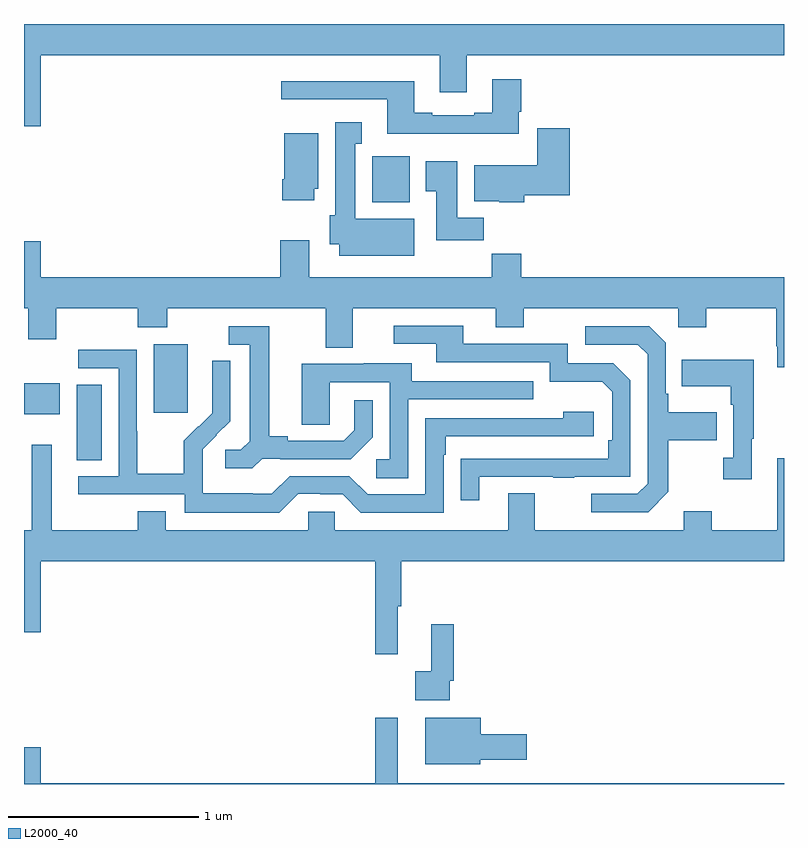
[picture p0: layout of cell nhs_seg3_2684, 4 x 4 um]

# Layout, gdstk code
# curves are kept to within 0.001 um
import gdstk
lib = gdstk.Library(unit=1e-6, precision=1e-09)
def R(c, l, rs):  # rectangles x0, y0, x1, y1
    for r in rs: c.add(gdstk.rectangle(r[:2], r[2:], *l))
def P(c, l, *ps):  # polygons
    for p in ps: c.add(gdstk.Polygon(p, *l))
L2000_40 = (2000, 40)

nhs_seg3_2684 = lib.new_cell('nhs_seg3_2684')
R(nhs_seg3_2684, L2000_40, [(249.278,712.105,249.409,712.502), (249,712.346,249.187,712.51), (249.683,712.353,249.862,712.714), (250.832,713.462,251.029,713.704)])
P(nhs_seg3_2684, L2000_40, [(249.088,714.236),(251.189,714.236),(251.189,714.042),(251.329,714.042),(251.329,714.236),(253,714.236),(253,714.4),(249,714.4),(249,713.862),(249.088,713.862)],
  [(251.605,713.938),(251.618,713.938),(251.618,714.109),(251.465,714.109),(251.465,713.932),(251.369,713.932),(251.369,713.919),(251.149,713.919),(251.149,713.932),(251.053,713.932),(251.053,714.1),(250.353,714.1),(250.353,714.003),(250.913,714.003),(250.913,713.822),(251.605,713.822)],
  [(251.053,713.374),(250.744,713.374),(250.744,713.771),(250.777,713.771),(250.777,713.884),(250.637,713.884),(250.637,713.394),(250.61,713.394),(250.61,713.24),(250.658,713.24),(250.658,713.18),(251.053,713.18)],
  [(251.633,713.498),(251.873,713.498),(251.873,713.851),(251.702,713.851),(251.702,713.656),(251.369,713.656),(251.369,713.468),(251.502,713.468),(251.502,713.462),(251.633,713.462)],
  [(250.528,713.532),(250.549,713.532),(250.549,713.824),(250.37,713.824),(250.37,713.584),(250.358,713.584),(250.358,713.472),(250.528,713.472)],
  [(251.42,713.38),(251.281,713.38),(251.281,713.677),(251.114,713.677),(251.114,713.521),(251.171,713.521),(251.171,713.262),(251.42,713.262)],
  [(249.088,713.257),(249,713.257),(249,712.904),(249.023,712.904),(249.023,712.74),(249.171,712.74),(249.171,712.904),(249.598,712.904),(249.598,712.805),(249.753,712.805),(249.753,712.904),(250.589,712.904),(250.589,712.696),(250.729,712.696),(250.729,712.904),(251.483,712.904),(251.483,712.805),(251.631,712.805),(251.631,712.904),(252.444,712.904),(252.444,712.805),(252.591,712.805),(252.591,712.904),(252.958,712.904),(252.958,712.705),(252.965,712.705),(252.965,712.593),(253,712.593),(253,713.068),(251.618,713.068),(251.618,713.192),(251.461,713.192),(251.461,713.068),(250.501,713.068),(250.501,713.263),(250.349,713.263),(250.349,713.068),(249.088,713.068)],
  [(251.395,712.017),(251.785,712.017),(251.785,712.012),(251.897,712.012),(251.897,712.017),(252.192,712.017),(252.192,712.524),(252.102,712.614),(251.862,712.614),(251.862,712.716),(251.311,712.716),(251.311,712.812),(250.947,712.812),(250.947,712.716),(251.171,712.716),(251.171,712.62),(251.766,712.62),(251.766,712.517),(252.043,712.517),(252.096,712.464),(252.096,712.21),(252.076,712.21),(252.076,712.113),(251.299,712.112),(251.299,711.894),(251.395,711.894)],
  [(250.254,712.113),(250.348,712.113),(250.348,712.11),(250.72,712.11),(250.836,712.226),(250.836,712.42),(250.739,712.42),(250.739,712.263),(250.682,712.206),(250.387,712.206),(250.387,712.229),(250.291,712.229),(250.291,712.809),(250.077,712.809),(250.077,712.713),(250.187,712.713),(250.187,712.205),(250.14,712.158),(250.059,712.158),(250.059,712.061),(250.202,712.061)],
  [(252.391,711.937),(252.391,712.21),(252.647,712.21),(252.647,712.357),(252.391,712.357),(252.391,712.453),(252.378,712.453),(252.378,712.722),(252.291,712.809),(251.955,712.809),(251.955,712.713),(252.231,712.713),(252.282,712.662),(252.282,711.981),(252.228,711.927),(251.985,711.927),(251.985,711.831),(252.285,711.831)],
  [(250.443,711.927),(250.559,711.927),(250.559,711.924),(250.677,711.924),(250.773,711.828),(251.208,711.828),(251.208,712.133),(251.221,712.133),(251.221,712.23),(251.998,712.23),(251.998,712.36),(251.837,712.36),(251.837,712.326),(251.112,712.326),(251.112,711.924),(250.809,711.924),(250.713,712.02),(250.398,712.02),(250.305,711.927),(250.205,711.927),(250.205,711.931),(249.942,711.931),(249.942,712.065),(249.94,712.065),(249.94,712.162),(250.086,712.31),(250.086,712.628),(249.99,712.628),(249.99,712.474),(249.992,712.474),(249.992,712.352),(249.921,712.281),(249.918,712.284),(249.841,712.207),(249.841,712.033),(249.597,712.033),(249.597,712.256),(249.594,712.256),(249.594,712.686),(249.285,712.686),(249.285,712.587),(249.498,712.587),(249.498,712.02),(249.285,712.02),(249.285,711.924),(249.846,711.924),(249.846,711.827),(250.343,711.827)],
  [(252.829,712.217),(252.841,712.217),(252.841,712.633),(252.463,712.633),(252.463,712.493),(252.72,712.493),(252.72,712.397),(252.732,712.397),(252.732,712.118),(252.681,712.118),(252.681,712.005),(252.829,712.005)],
  [(251.022,712.425),(251.681,712.425),(251.681,712.521),(251.041,712.521),(251.041,712.615),(250.787,712.615),(250.787,712.611),(250.463,712.611),(250.463,712.291),(250.608,712.291),(250.608,712.515),(250.926,712.515),(250.926,712.11),(250.854,712.11),(250.854,712.009),(251.022,712.009)],
  [(250.967,711.336),(250.985,711.336),(250.985,711.572),(253,711.572),(253,712.114),(252.965,712.114),(252.965,711.736),(252.621,711.736),(252.621,711.835),(252.473,711.835),(252.473,711.736),(251.689,711.736),(251.689,711.931),(251.549,711.931),(251.549,711.736),(250.635,711.736),(250.635,711.834),(250.497,711.834),(250.497,711.736),(249.745,711.736),(249.745,711.835),(249.598,711.835),(249.598,711.736),(249.145,711.736),(249.145,712.186),(249.041,712.186),(249.041,711.736),(249,711.736),(249,711.198),(249.088,711.198),(249.088,711.572),(250.849,711.572),(250.849,711.084),(250.967,711.084)],
  [(251.241,710.944),(251.261,710.944),(251.261,711.241),(251.144,711.241),(251.144,710.993),(251.058,710.993),(251.058,710.84),(251.241,710.84)],
  [(251.4,710.528),(251.647,710.528),(251.647,710.663),(251.404,710.663),(251.404,710.749),(251.111,710.749),(251.111,710.504),(251.4,710.504)],
  [(250.966,710.749),(250.849,710.749),(250.849,710.404),(249.088,710.404),(249.088,710.593),(249,710.593),(249,710.4),(253,710.4),(253,710.404),(250.966,710.404)])

lib.write_gds('nhs_seg3_2684.gds')
